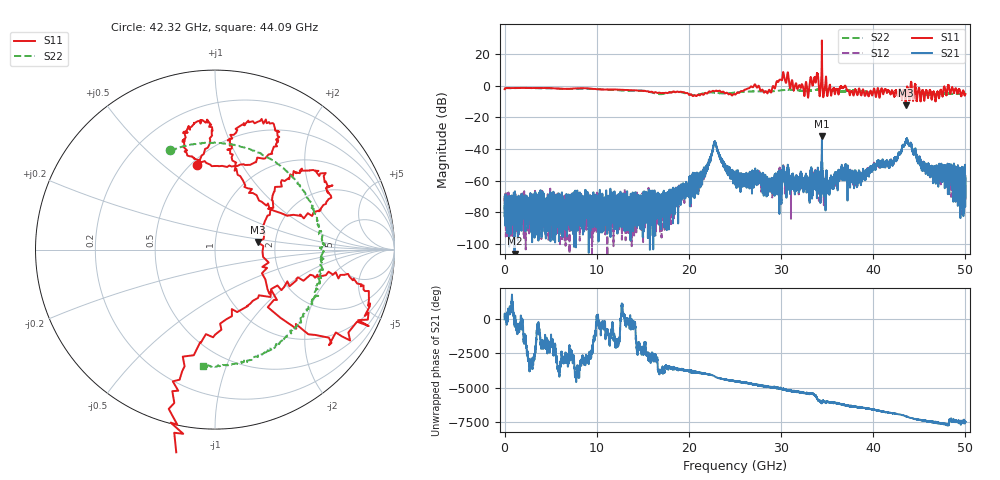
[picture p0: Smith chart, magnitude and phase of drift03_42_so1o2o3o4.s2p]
!Created with skrf (http://scikit-rf.org).
# Hz S RI R 50.0
!freq ReS11 ImS11 ReS21 ImS21 ReS12 ImS12 ReS22 ImS22
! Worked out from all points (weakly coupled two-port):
!   10000 points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, 5.3 MHz to 50 GHz, reference 50 ohm
!   highest |S21| = -31.78 dB at 34.44 GHz (marker M1); lowest = -106.0 dB at 1.08 GHz (marker M2)
!   lowest |S11| = -12.4 dB at 43.52 GHz (marker M3), VSWR 1.63, Z = 80.7 + j7.17 ohm
!   |S11| at or under -10 dB: 43.48571 GHz to 43.5536 GHz (67.89 MHz wide, 0.156 % of centre)
!   |S22| runs from -5.9 to -1.3 dB; largest |S21 - S12| = 0.014
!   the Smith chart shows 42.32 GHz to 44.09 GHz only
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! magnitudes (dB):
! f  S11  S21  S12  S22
! 5.3 MHz  -2.1  -74.3  -70.0  -2.1
! 1.08 GHz  -1.4  -106.0  -71.7  -1.5
! 8.34 GHz  -1.5  -86.8  -73.7  -1.9
! 16.67 GHz  -4.4  -67.7  -71.3  -5.2
! 18.02 GHz  -4.2  -74.4  -68.8  -4.2
! 21.26 GHz  -5.8  -61.2  -59.1  -5.2
! 22.82 GHz  -3.4  -35.4  -35.4  -4.5
! 25.01 GHz  -5.5  -56.3  -59.9  -4.3
! 27.02 GHz  -0.3  -58.7  -55.2  -3.5
! 28.72 GHz  -2.5  -61.8  -63.6  -3.5
! 30.14 GHz  4.4  -56.1  -57.4  -2.8
! 32.74 GHz  2.0  -59.2  -59.3  -3.3
! 33.34 GHz  2.6  -57.7  -55.9  -2.9
! 34.44 GHz  25.5  -31.8  -37.2  -2.3
! 35.27 GHz  0.2  -67.6  -61.5  -2.7
! 36.81 GHz  -0.9  -56.7  -54.5  -3.3
! 38.46 GHz  -1.7  -61.3  -56.8  -3.1
! 41.67 GHz  -3.0  -49.8  -50.6  -3.6
! 43.52 GHz  -12.4  -35.6  -35.7  -4.3
! 46.29 GHz  -6.1  -53.7  -52.3  -5.6
! 49.72 GHz  -3.2  -60.5  -79.3  -5.0
! 50 GHz  -5.2  -69.8  -59.4  -5.0
